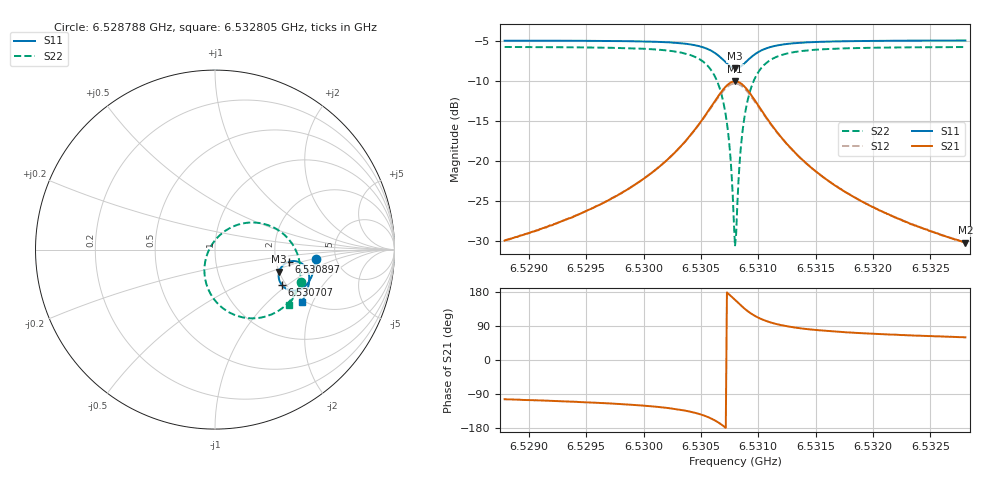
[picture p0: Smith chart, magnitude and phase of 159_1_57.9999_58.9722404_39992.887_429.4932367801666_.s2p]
#  HZ  S  RI  R  50.00
! Rohde & Schwarz Vector Network Analyzer
! Rohde-Schwarz,ZNB20-2Port,1311601062101988,3.16
! Created: UTC 3/21/2024, 12:57:21 AM
! freq[Hz]  re:S11  im:S11  re:S21  im:S21  re:S12  im:S12  re:S22  im:S22
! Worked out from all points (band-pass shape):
!   401 points, 6.528788 GHz to 6.532805 GHz, reference 50 ohm
!   highest |S21| = -10.05 dB at 6.530797 GHz (marker M1); lowest = -30.2 dB at 6.532805 GHz (marker M2)
!   |S21| within 3 dB of the highest: 6.530597 GHz to 6.530999 GHz (402.2 kHz wide, 0.00616 % of centre)
!   lowest |S11| = -8.4 dB at 6.530797 GHz (marker M3), VSWR 2.22, Z = 100 - j28.9 ohm
!   |S11| at or under -10 dB: nowhere
!   |S22| runs from -30.6 to -5.8 dB; largest |S21 - S12| = 0.013
!   S11 on the Smith chart (normalised r, x): 6.528788 GHz: 3.49, -0.53; 6.530707 GHz: 1.90, -0.90; 6.530897 GHz: 2.36, -0.38; 6.532805 GHz: 1.95, -1.66
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6.5287885e9  0.5605 -0.0519  -0.00748 -0.031  -0.0082 -0.0309  0.4812 -0.1814
6.5294613e9  0.5512 -0.1087  -0.017 -0.0442  -0.0182 -0.0438  0.449 -0.2443
6.5298229e9  0.5409 -0.1429  -0.0289 -0.0573  -0.0304 -0.0566  0.4173 -0.2867
6.5301342e9  0.524 -0.1775  -0.0513 -0.0761  -0.0537 -0.0744  0.365 -0.3332
6.5303652e9  0.4971 -0.2077  -0.0919 -0.0959  -0.0951 -0.0926  0.2824 -0.3727
6.5305359e9  0.4528 -0.2277  -0.1619 -0.1029  -0.1644 -0.096  0.1533 -0.3772
6.5306363e9  0.407 -0.2228  -0.2333 -0.076  -0.2322 -0.066  0.0341 -0.3185
6.5307066e9  0.3708 -0.1951  -0.2858 -0.0162  -0.2797 -0.0057  -0.0429 -0.2075
6.5307468e9  0.3571 -0.1666  -0.3022 0.0379  -0.2928 0.0464  -0.0591 -0.1147
6.5307869e9  0.3555 -0.1324  -0.2974 0.0998  -0.2861 0.1046  -0.0392 -0.0144
6.530797e9  0.3575 -0.1237  -0.2925 0.115  -0.281 0.1189  -0.0279 0.00929
6.530807e9  0.3603 -0.1153  -0.286 0.1295  -0.2744 0.1324  -0.0144 0.0319
6.5308171e9  0.3639 -0.1074  -0.2781 0.1435  -0.2666 0.1452  0.000963 0.0531
6.5308371e9  0.3735 -0.0929  -0.2588 0.1682  -0.2478 0.168  0.0375 0.0897
6.5308572e9  0.3857 -0.0812  -0.2359 0.1879  -0.226 0.1864  0.0787 0.1177
6.5308974e9  0.413 -0.067  -0.186 0.2118  -0.1788 0.2086  0.1653 0.1475
6.5309677e9  0.4571 -0.0659  -0.1089 0.2143  -0.1051 0.2111  0.2949 0.1365
6.5310681e9  0.4961 -0.0876  -0.0424 0.1829  -0.0405 0.1812  0.402 0.0672
6.5312188e9  0.519 -0.1237  -0.00203 0.1355  -0.000666 0.1348  0.4608 -0.0302
6.5314698e9  0.5254 -0.1674  0.0152 0.0885  0.0164 0.0883  0.4755 -0.1294
6.5321427e9  0.5091 -0.2385  0.0179 0.0426  0.0186 0.0424  0.4468 -0.2465
6.5328055e9  0.4848 -0.2896  0.0156 0.0268  0.0161 0.0265  0.4124 -0.3064
